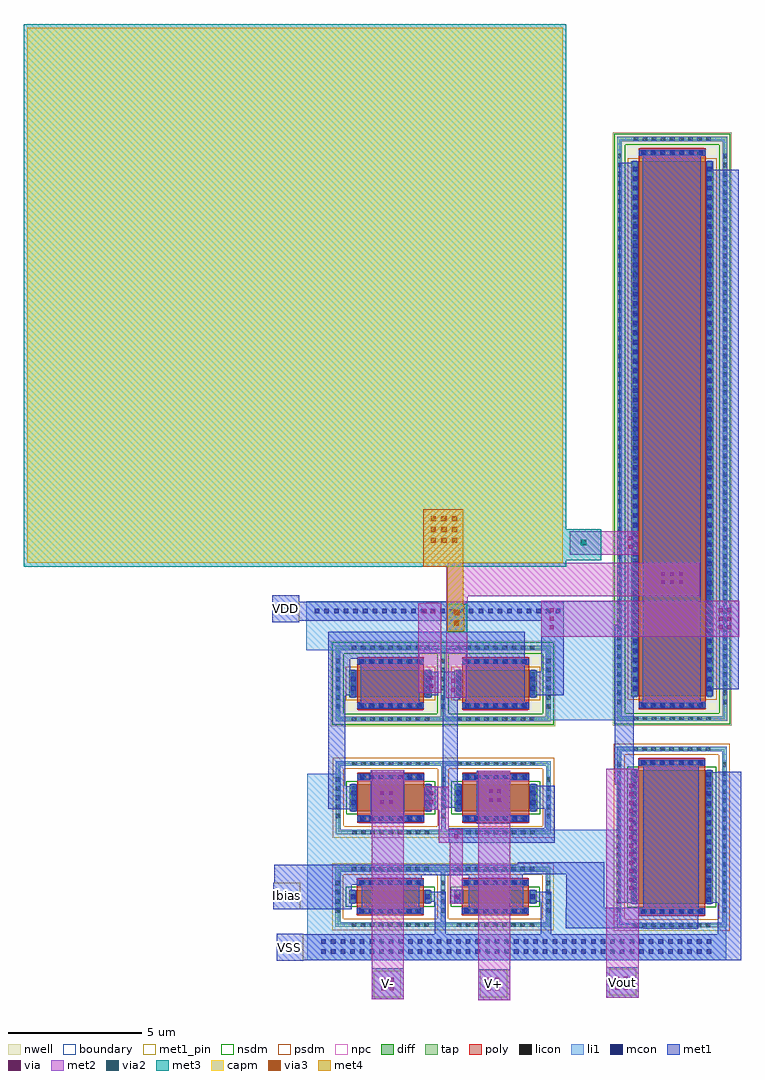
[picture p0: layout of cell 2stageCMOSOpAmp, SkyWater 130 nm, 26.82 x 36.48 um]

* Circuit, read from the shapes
.subckt 2stageCMOSOpAmp Ibias V+ V- VDD VSS Vout
XM1 VSS Ibias Ibias VSS sky130_fd_pr__nfet_01v8 w=0.5 l=2.5
XM2 n1 V- n2 VSS sky130_fd_pr__nfet_01v8 w=1 l=2.5
XM3 VSS Ibias n1 VSS sky130_fd_pr__nfet_01v8 w=0.5 l=2.5
XM4 n1 V+ n3 VSS sky130_fd_pr__nfet_01v8 w=1 l=2.5
XM5 VSS Ibias Vout VSS sky130_fd_pr__nfet_01v8 w=5 l=2.5
XM6 VDD n2 n2 VDD sky130_fd_pr__pfet_01v8 w=1 l=2.5
XM7 VDD n2 n3 VDD sky130_fd_pr__pfet_01v8 w=1 l=2.5
XM8 VDD n3 Vout VDD sky130_fd_pr__pfet_01v8 w=20 l=2.5
XC9 n3 Vout sky130_fd_pr__cap_mim_m3_1 w=20 l=20
.ends

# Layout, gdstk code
import gdstk
lib = gdstk.Library(unit=1e-6, precision=1e-09)
def R(c, l, rs):  # rectangles x0, y0, x1, y1
    for r in rs: c.add(gdstk.rectangle(r[:2], r[2:], *l))
def A(c, l, x, y, w, h, nx, ny, dx, dy):  # array of equal rectangles
    R(c, l, [(x+i*dx, y+j*dy, x+i*dx+w, y+j*dy+h) for i in range(nx) for j in range(ny)])
nwell = (64, 20)
diff = (65, 20)
tap = (65, 44)
poly = (66, 20)
licon = (66, 44)
li1 = (67, 20)
mcon = (67, 44)
met1_pin = (68, 16)
met1 = (68, 20)
via = (68, 44)
met2 = (69, 20)
via2 = (69, 44)
met3 = (70, 20)
via3 = (70, 44)
met4 = (71, 20)
capm = (89, 44)
nsdm = (93, 44)
psdm = (94, 20)
npc = (95, 20)
boundary = (235, 4)

sky130_fd_pr__nfet_01v8_ = lib.new_cell('sky130_fd_pr__nfet_01v8_KW7QXQ')
R(sky130_fd_pr__nfet_01v8_, diff, [(-1.54,-0.25,1.54,0.25)])
R(sky130_fd_pr__nfet_01v8_, tap, [(-2.05,-1.12,2.05,-0.95), (-2.05,-0.95,-1.88,0.95), (1.88,-0.95,2.05,0.95), (-2.05,0.95,2.05,1.12)])
R(sky130_fd_pr__nfet_01v8_, poly, [(-1.25,-0.69,1.25,0.69)])
A(sky130_fd_pr__nfet_01v8_, licon, -1.445, -1.12, 0.17, 0.17, 9, 2, 0.34, 2.07)
A(sky130_fd_pr__nfet_01v8_, licon, -1.105, -0.61, 0.17, 0.17, 7, 2, 0.34, 1.05)
A(sky130_fd_pr__nfet_01v8_, licon, -2.05, -0.595, 0.17, 0.17, 1, 4, 0, 0.34)
A(sky130_fd_pr__nfet_01v8_, licon, 1.88, -0.595, 0.17, 0.17, 1, 4, 0, 0.34)
R(sky130_fd_pr__nfet_01v8_, licon, [(-1.48,-0.085,-1.31,0.085), (1.31,-0.085,1.48,0.085)])
R(sky130_fd_pr__nfet_01v8_, li1, [(-2.05,-1.12,2.05,-0.95), (-2.05,-0.95,-1.88,0.95), (1.88,-0.95,2.05,0.95), (-1.25,-0.61,1.25,-0.44), (-1.48,-0.27,-1.31,0.27), (1.31,-0.27,1.48,0.27), (-1.25,0.44,1.25,0.61), (-2.05,0.95,2.05,1.12)])
A(sky130_fd_pr__nfet_01v8_, mcon, -1.165, -0.61, 0.17, 0.17, 7, 2, 0.36, 1.05)
R(sky130_fd_pr__nfet_01v8_, mcon, [(-1.48,-0.085,-1.31,0.085), (1.31,-0.085,1.48,0.085)])
R(sky130_fd_pr__nfet_01v8_, met1, [(-1.23,-0.64,1.23,-0.41), (-1.51,-0.25,-1.28,0.25), (1.28,-0.25,1.51,0.25), (-1.23,0.41,1.23,0.64)])
R(sky130_fd_pr__nfet_01v8_, nsdm, [(-1.665,-0.375,1.665,0.375)])
R(sky130_fd_pr__nfet_01v8_, psdm, [(-2.175,-1.245,2.175,-0.825), (-2.175,-0.825,-1.755,0.825), (1.755,-0.825,2.175,0.825), (-2.175,0.825,2.175,1.245)])
R(sky130_fd_pr__nfet_01v8_, npc, [(-1.205,-0.71,1.205,-0.34), (-1.205,0.34,1.205,0.71)])
R(sky130_fd_pr__nfet_01v8_, boundary, [(-1.96,-1.03,1.96,1.03)])

c_sky130_fd_pr__nfet_01v8_ = lib.new_cell('sky130_fd_pr__nfet_01v8_P9E9M2')
R(c_sky130_fd_pr__nfet_01v8_, diff, [(-1.54,-2.5,1.54,2.5)])
R(c_sky130_fd_pr__nfet_01v8_, tap, [(-2.05,-3.37,2.05,-3.2), (-2.05,-3.2,-1.88,3.2), (1.88,-3.2,2.05,3.2), (-2.05,3.2,2.05,3.37)])
R(c_sky130_fd_pr__nfet_01v8_, poly, [(-1.25,-2.94,1.25,2.94)])
A(c_sky130_fd_pr__nfet_01v8_, licon, -1.445, -3.37, 0.17, 0.17, 9, 2, 0.34, 6.57)
A(c_sky130_fd_pr__nfet_01v8_, licon, -1.105, -2.86, 0.17, 0.17, 7, 2, 0.34, 5.55)
A(c_sky130_fd_pr__nfet_01v8_, licon, -2.05, -2.805, 0.17, 0.17, 1, 17, 0, 0.34)
A(c_sky130_fd_pr__nfet_01v8_, licon, 1.88, -2.805, 0.17, 0.17, 1, 17, 0, 0.34)
A(c_sky130_fd_pr__nfet_01v8_, licon, -1.48, -2.295, 0.17, 0.17, 1, 14, 0, 0.34)
A(c_sky130_fd_pr__nfet_01v8_, licon, 1.31, -2.295, 0.17, 0.17, 1, 14, 0, 0.34)
R(c_sky130_fd_pr__nfet_01v8_, li1, [(-2.05,-3.37,2.05,-3.2), (-2.05,-3.2,-1.88,3.2), (1.88,-3.2,2.05,3.2), (-1.25,-2.86,1.25,-2.69), (-1.48,-2.52,-1.31,2.52), (1.31,-2.52,1.48,2.52), (-1.25,2.69,1.25,2.86), (-2.05,3.2,2.05,3.37)])
A(c_sky130_fd_pr__nfet_01v8_, mcon, -1.165, -2.86, 0.17, 0.17, 7, 2, 0.36, 5.55)
A(c_sky130_fd_pr__nfet_01v8_, mcon, -1.48, -2.425, 0.17, 0.17, 1, 14, 0, 0.36)
A(c_sky130_fd_pr__nfet_01v8_, mcon, 1.31, -2.425, 0.17, 0.17, 1, 14, 0, 0.36)
R(c_sky130_fd_pr__nfet_01v8_, met1, [(-1.23,-2.89,1.23,-2.66), (-1.51,-2.5,-1.28,2.5), (1.28,-2.5,1.51,2.5), (-1.23,2.66,1.23,2.89)])
R(c_sky130_fd_pr__nfet_01v8_, nsdm, [(-1.665,-2.625,1.665,2.625)])
R(c_sky130_fd_pr__nfet_01v8_, psdm, [(-2.175,-3.495,2.175,-3.075), (-2.175,-3.075,-1.755,3.075), (1.755,-3.075,2.175,3.075), (-2.175,3.075,2.175,3.495)])
R(c_sky130_fd_pr__nfet_01v8_, npc, [(-1.205,-2.96,1.205,-2.59), (-1.205,2.59,1.205,2.96)])
R(c_sky130_fd_pr__nfet_01v8_, boundary, [(-1.96,-3.28,1.96,3.28)])

sky130_fd_pr__pfet_01v8_ = lib.new_cell('sky130_fd_pr__pfet_01v8_AT44HV')
R(sky130_fd_pr__pfet_01v8_, nwell, [(-2.23,-11.095,2.23,11.095)])
R(sky130_fd_pr__pfet_01v8_, diff, [(-1.54,-10,1.54,10)])
R(sky130_fd_pr__pfet_01v8_, tap, [(-2.05,-10.915,2.05,-10.745), (-2.05,-10.745,-1.88,10.745), (1.88,-10.745,2.05,10.745), (-2.05,10.745,2.05,10.915)])
R(sky130_fd_pr__pfet_01v8_, poly, [(-1.25,-10.485,1.25,10.485)])
A(sky130_fd_pr__pfet_01v8_, licon, -1.445, -10.915, 0.17, 0.17, 9, 2, 0.34, 21.66)
A(sky130_fd_pr__pfet_01v8_, licon, -1.105, -10.405, 0.17, 0.17, 7, 2, 0.34, 20.64)
A(sky130_fd_pr__pfet_01v8_, licon, -2.05, -10.285, 0.17, 0.17, 1, 61, 0, 0.34)
A(sky130_fd_pr__pfet_01v8_, licon, 1.88, -10.285, 0.17, 0.17, 1, 61, 0, 0.34)
A(sky130_fd_pr__pfet_01v8_, licon, -1.48, -9.775, 0.17, 0.17, 1, 58, 0, 0.34)
A(sky130_fd_pr__pfet_01v8_, licon, 1.31, -9.775, 0.17, 0.17, 1, 58, 0, 0.34)
R(sky130_fd_pr__pfet_01v8_, li1, [(-2.05,-10.915,2.05,-10.745), (-2.05,-10.745,-1.88,10.745), (1.88,-10.745,2.05,10.745), (-1.25,-10.405,1.25,-10.235), (-1.48,-10.02,-1.31,10.02), (1.31,-10.02,1.48,10.02), (-1.25,10.235,1.25,10.405), (-2.05,10.745,2.05,10.915)])
A(sky130_fd_pr__pfet_01v8_, mcon, -1.165, -10.405, 0.17, 0.17, 7, 2, 0.36, 20.64)
A(sky130_fd_pr__pfet_01v8_, mcon, -1.48, -9.805, 0.17, 0.17, 1, 55, 0, 0.36)
A(sky130_fd_pr__pfet_01v8_, mcon, 1.31, -9.805, 0.17, 0.17, 1, 55, 0, 0.36)
R(sky130_fd_pr__pfet_01v8_, met1, [(-1.23,-10.435,1.23,-10.205), (-1.51,-10,-1.28,10), (1.28,-10,1.51,10), (-1.23,10.205,1.23,10.435)])
R(sky130_fd_pr__pfet_01v8_, nsdm, [(-2.175,-11.04,2.175,-10.62), (-2.175,-10.62,-1.755,10.62), (1.755,-10.62,2.175,10.62), (-2.175,10.62,2.175,11.04)])
R(sky130_fd_pr__pfet_01v8_, psdm, [(-1.665,-10.125,1.665,10.125)])
R(sky130_fd_pr__pfet_01v8_, npc, [(-1.205,-10.505,1.205,-10.135), (-1.205,10.135,1.205,10.505)])
R(sky130_fd_pr__pfet_01v8_, boundary, [(-1.965,-10.83,1.965,10.83)])

c_sky130_fd_pr__pfet_01v8_ = lib.new_cell('sky130_fd_pr__pfet_01v8_CQSGDB')
R(c_sky130_fd_pr__pfet_01v8_, nwell, [(-2.23,-1.595,2.23,1.595)])
R(c_sky130_fd_pr__pfet_01v8_, diff, [(-1.54,-0.5,1.54,0.5)])
R(c_sky130_fd_pr__pfet_01v8_, tap, [(-2.05,-1.415,2.05,-1.245), (-2.05,-1.245,-1.88,1.245), (1.88,-1.245,2.05,1.245), (-2.05,1.245,2.05,1.415)])
R(c_sky130_fd_pr__pfet_01v8_, poly, [(-1.25,-0.985,1.25,0.985)])
A(c_sky130_fd_pr__pfet_01v8_, licon, -1.445, -1.415, 0.17, 0.17, 9, 2, 0.34, 2.66)
A(c_sky130_fd_pr__pfet_01v8_, licon, -2.05, -0.935, 0.17, 0.17, 1, 6, 0, 0.34)
A(c_sky130_fd_pr__pfet_01v8_, licon, 1.88, -0.935, 0.17, 0.17, 1, 6, 0, 0.34)
A(c_sky130_fd_pr__pfet_01v8_, licon, -1.105, -0.905, 0.17, 0.17, 7, 2, 0.34, 1.64)
A(c_sky130_fd_pr__pfet_01v8_, licon, -1.48, -0.425, 0.17, 0.17, 1, 3, 0, 0.34)
A(c_sky130_fd_pr__pfet_01v8_, licon, 1.31, -0.425, 0.17, 0.17, 1, 3, 0, 0.34)
R(c_sky130_fd_pr__pfet_01v8_, li1, [(-2.05,-1.415,2.05,-1.245), (-2.05,-1.245,-1.88,1.245), (1.88,-1.245,2.05,1.245), (-1.25,-0.905,1.25,-0.735), (-1.48,-0.52,-1.31,0.52), (1.31,-0.52,1.48,0.52), (-1.25,0.735,1.25,0.905), (-2.05,1.245,2.05,1.415)])
A(c_sky130_fd_pr__pfet_01v8_, mcon, -1.165, -0.905, 0.17, 0.17, 7, 2, 0.36, 1.64)
R(c_sky130_fd_pr__pfet_01v8_, mcon, [(-1.48,-0.265,-1.31,-0.095), (1.31,-0.265,1.48,-0.095), (-1.48,0.095,-1.31,0.265), (1.31,0.095,1.48,0.265)])
R(c_sky130_fd_pr__pfet_01v8_, met1, [(-1.23,-0.935,1.23,-0.705), (-1.51,-0.5,-1.28,0.5), (1.28,-0.5,1.51,0.5), (-1.23,0.705,1.23,0.935)])
R(c_sky130_fd_pr__pfet_01v8_, nsdm, [(-2.175,-1.54,2.175,-1.12), (-2.175,-1.12,-1.755,1.12), (1.755,-1.12,2.175,1.12), (-2.175,1.12,2.175,1.54)])
R(c_sky130_fd_pr__pfet_01v8_, psdm, [(-1.665,-0.625,1.665,0.625)])
R(c_sky130_fd_pr__pfet_01v8_, npc, [(-1.205,-1.005,1.205,-0.635), (-1.205,0.635,1.205,1.005)])
R(c_sky130_fd_pr__pfet_01v8_, boundary, [(-1.965,-1.33,1.965,1.33)])

c_sky130_fd_pr__nfet_01v8__ = lib.new_cell('sky130_fd_pr__nfet_01v8_WH8SLP')
R(c_sky130_fd_pr__nfet_01v8__, diff, [(-1.54,-0.5,1.54,0.5)])
R(c_sky130_fd_pr__nfet_01v8__, tap, [(-2.05,-1.37,2.05,-1.2), (-2.05,-1.2,-1.88,1.2), (1.88,-1.2,2.05,1.2), (-2.05,1.2,2.05,1.37)])
R(c_sky130_fd_pr__nfet_01v8__, poly, [(-1.25,-0.94,1.25,0.94)])
A(c_sky130_fd_pr__nfet_01v8__, licon, -1.445, -1.37, 0.17, 0.17, 9, 2, 0.34, 2.57)
A(c_sky130_fd_pr__nfet_01v8__, licon, -1.105, -0.86, 0.17, 0.17, 7, 2, 0.34, 1.55)
A(c_sky130_fd_pr__nfet_01v8__, licon, -2.05, -0.765, 0.17, 0.17, 1, 5, 0, 0.34)
A(c_sky130_fd_pr__nfet_01v8__, licon, 1.88, -0.765, 0.17, 0.17, 1, 5, 0, 0.34)
A(c_sky130_fd_pr__nfet_01v8__, licon, -1.48, -0.425, 0.17, 0.17, 1, 3, 0, 0.34)
A(c_sky130_fd_pr__nfet_01v8__, licon, 1.31, -0.425, 0.17, 0.17, 1, 3, 0, 0.34)
R(c_sky130_fd_pr__nfet_01v8__, li1, [(-2.05,-1.37,2.05,-1.2), (-2.05,-1.2,-1.88,1.2), (1.88,-1.2,2.05,1.2), (-1.25,-0.86,1.25,-0.69), (-1.48,-0.52,-1.31,0.52), (1.31,-0.52,1.48,0.52), (-1.25,0.69,1.25,0.86), (-2.05,1.2,2.05,1.37)])
A(c_sky130_fd_pr__nfet_01v8__, mcon, -1.165, -0.86, 0.17, 0.17, 7, 2, 0.36, 1.55)
R(c_sky130_fd_pr__nfet_01v8__, mcon, [(-1.48,-0.265,-1.31,-0.095), (1.31,-0.265,1.48,-0.095), (-1.48,0.095,-1.31,0.265), (1.31,0.095,1.48,0.265)])
R(c_sky130_fd_pr__nfet_01v8__, met1, [(-1.23,-0.89,1.23,-0.66), (-1.51,-0.5,-1.28,0.5), (1.28,-0.5,1.51,0.5), (-1.23,0.66,1.23,0.89)])
R(c_sky130_fd_pr__nfet_01v8__, nsdm, [(-1.665,-0.625,1.665,0.625)])
R(c_sky130_fd_pr__nfet_01v8__, psdm, [(-2.175,-1.495,2.175,-1.075), (-2.175,-1.075,-1.755,1.075), (1.755,-1.075,2.175,1.075), (-2.175,1.075,2.175,1.495)])
R(c_sky130_fd_pr__nfet_01v8__, npc, [(-1.205,-0.96,1.205,-0.59), (-1.205,0.59,1.205,0.96)])
R(c_sky130_fd_pr__nfet_01v8__, boundary, [(-1.96,-1.28,1.96,1.28)])

c_2stagecmosopamp = lib.new_cell('2stageCMOSOpAmp')
R(c_2stagecmosopamp, li1, [(48.19,2.78,63.86,4.19), (48.19,4.19,49.45,6.1), (57.11,4.19,59.93,6.1), (48.19,6.1,59.93,7.66), (48.19,7.66,49.45,9.76), (57.11,11.75,59.96,14.38), (48.16,14.38,59.96,14.49), (48.16,14.49,59.92,16.2)])
A(c_2stagecmosopamp, mcon, 48.725, 3.035, 0.17, 0.17, 41, 2, 0.36, 0.36)
A(c_2stagecmosopamp, mcon, 48.48, 15.76, 0.17, 0.17, 26, 1, 0.36, 0)
R(c_2stagecmosopamp, met1_pin, [(50.69,1.4,51.69,2.4), (54.67,1.41,55.67,2.41), (59.49,1.47,60.49,2.47), (47.05,2.77,48.05,3.77), (46.93,4.69,47.93,5.69), (46.89,15.42,47.89,16.42)])
R(c_2stagecmosopamp, met1, [(54.58,1.3,55.79,2.45), (50.6,1.33,51.81,2.48), (59.37,1.38,60.58,2.53), (47.05,2.77,48.05,2.78), (47.05,2.78,48.27,2.79), (47.05,2.79,64.42,3.76), (47.05,3.76,48.05,3.77), (52.97,3.76,53.37,4.97), (56.92,3.76,57.31,4.97), (63.54,3.76,64.42,4.93), (60.76,3.96,62.81,3.98), (57.86,3.98,62.81,4.53), (57.86,4.53,62.83,4.74), (50.23,4.55,52.39,5.6), (54.24,4.56,56.27,5.77), (46.93,4.69,49.86,4.96), (57.87,4.74,59.3,6), (60.75,4.74,62.83,10.25), (53.52,4.89,54.02,5.42), (59.83,4.93,60.51,5.05), (63.14,4.93,64.42,9.82), (46.93,4.96,49.99,5.35), (52.61,4.97,53.37,5.34), (56.53,4.97,57.31,5.34), (59.83,5.05,60.58,9.34), (52.98,5.34,53.37,5.35), (46.93,5.35,49.86,5.6), (46.93,5.6,52.48,5.69), (46.96,5.69,52.48,5.96), (54.24,5.77,56.26,5.96), (46.96,5.96,56.26,6), (46.96,6,59.3,6.35), (46.96,6.35,52.48,6.36), (56.07,6.35,59.3,6.45), (53.49,7.18,57.45,7.72), (57.07,7.72,57.45,8.44), (54.54,7.89,55.79,9.87), (50.57,7.9,51.82,9.88), (52.58,8.42,53.08,8.5), (49.11,8.43,50.02,8.44), (48.99,8.44,50.02,9.29), (56.52,8.44,57.45,9.3), (53.26,8.48,53.92,9.24), (52.57,8.5,53.08,9.24), (52.58,9.24,53.08,9.28), (53.26,9.24,53.82,12.52), (48.99,9.29,49.61,12.69), (59.7,9.34,60.58,9.64), (59.7,9.64,60.51,9.83), (63.54,9.82,64.42,9.83), (59.7,9.83,60.41,12.7), (50.2,12.23,52.39,14.05), (54.13,12.24,56.32,14.26), (60.73,12.24,62.9,33.05), (53.3,12.52,53.82,12.55), (53.3,12.55,53.91,12.64), (53.3,12.64,53.95,13.49), (48.99,12.69,50,13.55), (52.62,12.69,53.1,12.7), (56.55,12.69,57.79,13.56), (52.57,12.7,53.1,13.56), (59.7,12.7,60.54,15.33), (63.15,12.91,64.33,32.34), (53.3,13.49,53.92,13.54), (53.3,13.54,53.82,13.56), (48.99,13.55,49.81,14.05), (52.57,13.56,53.05,13.57), (56.94,13.56,57.79,15.48), (48.98,14.05,52.39,14.26), (48.98,14.26,56.32,15.06), (59.85,15.33,60.54,18.06), (46.89,15.42,47.89,15.48), (46.89,15.48,57.79,16.19), (46.89,16.19,47.89,16.42), (59.85,18.06,60.55,18.75), (59.85,18.75,60.54,32.59)])
A(c_2stagecmosopamp, via, 60.235, 5.395, 0.15, 0.15, 1, 13, 0, 0.32)
A(c_2stagecmosopamp, via, 57.26, 15.15, 0.15, 0.15, 1, 3, 0, 0.32)
A(c_2stagecmosopamp, via, 63.575, 15.15, 0.15, 0.15, 1, 3, 0, 0.32)
A(c_2stagecmosopamp, via, 63.895, 15.15, 0.15, 0.15, 1, 3, 0, 0.32)
A(c_2stagecmosopamp, via, 61.435, 16.835, 0.15, 0.15, 3, 2, 0.32, 0.32)
R(c_2stagecmosopamp, via, [(50.955,1.66,51.105,1.81), (51.275,1.66,51.425,1.81), (54.905,1.67,55.055,1.82), (55.225,1.67,55.375,1.82), (59.715,1.69,59.865,1.84), (60.035,1.69,60.185,1.84), (50.955,1.98,51.105,2.13), (51.275,1.98,51.425,2.13), (54.905,1.99,55.055,2.14), (55.225,1.99,55.375,2.14), (59.715,2.01,59.865,2.16), (60.035,2.01,60.185,2.16), (53.695,5.08,53.845,5.23), (53.69,7.345,53.84,7.495), (52.75,8.635,52.9,8.785), (50.93,8.64,51.08,8.79), (51.25,8.64,51.4,8.79), (54.98,8.7,55.13,8.85), (55.3,8.7,55.45,8.85), (52.75,8.955,52.9,9.105), (50.93,8.96,51.08,9.11), (51.25,8.96,51.4,9.11), (54.98,9.02,55.13,9.17), (55.3,9.02,55.45,9.17), (53.58,12.83,53.73,12.98), (52.765,12.945,52.915,13.095), (53.58,13.15,53.73,13.3), (52.765,13.265,52.915,13.415), (52.505,15.75,52.655,15.9), (52.825,15.75,52.975,15.9), (60.215,18.17,60.365,18.32), (60.215,18.49,60.365,18.64)])
R(c_2stagecmosopamp, met2, [(54.58,1.3,55.79,9.86), (50.6,1.33,51.81,9.89), (59.38,1.38,60.59,9.94), (53.53,4.89,54.01,6.41), (53.52,6.41,54.01,7.18), (53.11,7.18,54.01,7.69), (53.11,7.69,53.49,8.42), (52.58,8.42,53.49,9.28), (52.62,9.28,53.03,9.29), (53.41,12.59,53.9,12.6), (53.39,12.6,54.18,16.25), (52.35,12.78,53.2,16.13), (56.95,14.88,64.35,16.22), (52.65,16.13,53.09,16.15), (53.39,16.25,54.19,16.4), (53.39,16.4,62.86,17.49), (53.44,17.49,62.86,17.64), (58,17.94,60.56,18.82)])
R(c_2stagecmosopamp, via2, [(53.67,15.29,53.87,15.49), (53.67,15.69,53.87,15.89), (58.42,18.295,58.62,18.495)])
R(c_2stagecmosopamp, met3, [(53.41,15.04,54.17,16.11), (37.6,17.5,57.88,17.73), (37.6,17.73,59.19,18.9), (37.6,18.9,57.88,37.78)])
A(c_2stagecmosopamp, via3, 52.805, 18.385, 0.2, 0.2, 3, 3, 0.4, 0.4)
R(c_2stagecmosopamp, via3, [(53.675,15.29,53.875,15.49), (53.675,15.69,53.875,15.89)])
R(c_2stagecmosopamp, met4, [(53.43,15.08,54.02,15.105), (53.43,15.105,54.065,16.075), (53.43,16.075,54.02,17.5), (52.53,17.5,54.02,19.65)])
R(c_2stagecmosopamp, capm, [(37.74,17.64,57.74,37.64)])
c_2stagecmosopamp.add(gdstk.Reference(sky130_fd_pr__nfet_01v8_, (51.3,5.16)))
c_2stagecmosopamp.add(gdstk.Reference(c_sky130_fd_pr__nfet_01v8_, (61.82,7.39)))
c_2stagecmosopamp.add(gdstk.Reference(sky130_fd_pr__pfet_01v8_, (61.84,22.645)))
c_2stagecmosopamp.add(gdstk.Reference(sky130_fd_pr__nfet_01v8_, (55.23,5.16)))
c_2stagecmosopamp.add(gdstk.Reference(c_sky130_fd_pr__pfet_01v8_, (55.24,13.125)))
c_2stagecmosopamp.add(gdstk.Reference(c_sky130_fd_pr__pfet_01v8_, (51.31,13.125)))
c_2stagecmosopamp.add(gdstk.Reference(c_sky130_fd_pr__nfet_01v8__, (55.25,8.86)))
c_2stagecmosopamp.add(gdstk.Reference(c_sky130_fd_pr__nfet_01v8__, (51.32,8.86)))
c_2stagecmosopamp.add(gdstk.Label('V+', (55.17,1.91), layer=68, texttype=5))
c_2stagecmosopamp.add(gdstk.Label('V-', (51.19,1.9), layer=68, texttype=5))
c_2stagecmosopamp.add(gdstk.Label('VSS', (47.55,3.27), layer=68, texttype=5))
c_2stagecmosopamp.add(gdstk.Label('VDD', (47.39,15.92), layer=68, texttype=5))
c_2stagecmosopamp.add(gdstk.Label('Vout', (59.99,1.97), layer=68, texttype=5))
c_2stagecmosopamp.add(gdstk.Label('Ibias', (47.43,5.19), layer=68, texttype=5))

lib.write_gds('2stageCMOSOpAmp.gds')
